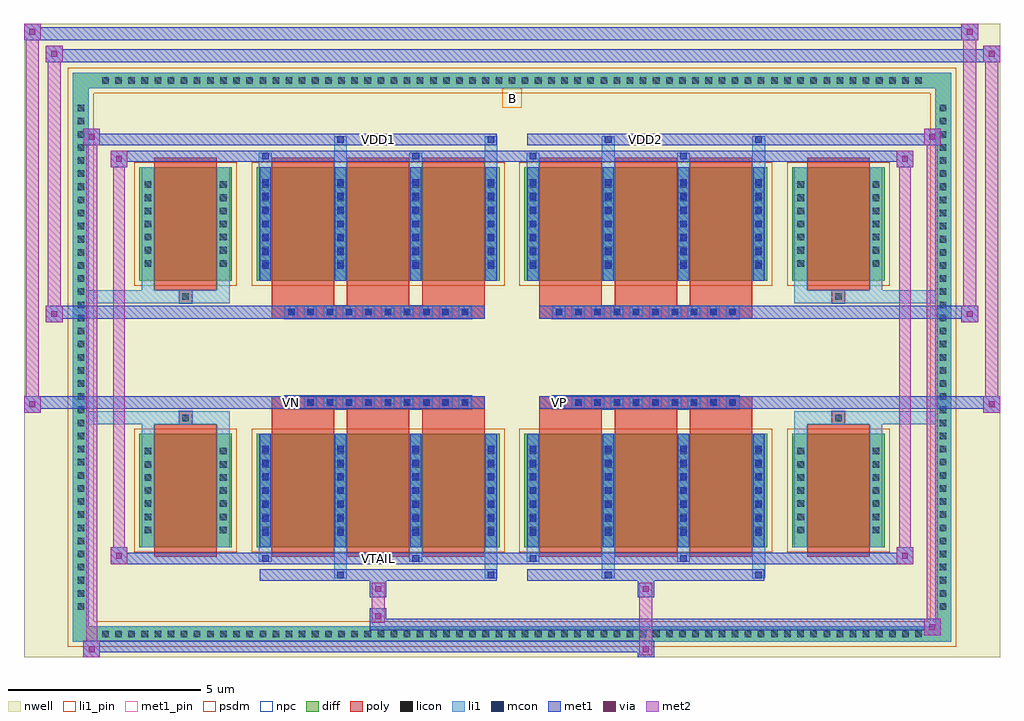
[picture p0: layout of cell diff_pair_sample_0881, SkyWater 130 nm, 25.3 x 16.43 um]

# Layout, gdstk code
import gdstk
lib = gdstk.Library(unit=1e-6, precision=5e-09)
def R(c, l, rs):  # rectangles x0, y0, x1, y1
    for r in rs: c.add(gdstk.rectangle(r[:2], r[2:], *l))
def A(c, l, x, y, w, h, nx, ny, dx, dy):  # array of equal rectangles
    R(c, l, [(x+i*dx, y+j*dy, x+i*dx+w, y+j*dy+h) for i in range(nx) for j in range(ny)])
def P(c, l, *ps):  # polygons
    for p in ps: c.add(gdstk.Polygon(p, *l))
nwell = (64, 20)
diff = (65, 20)
poly = (66, 20)
licon = (66, 44)
li1_pin = (67, 16)
li1 = (67, 20)
mcon = (67, 44)
met1_pin = (68, 16)
met1 = (68, 20)
via = (68, 44)
met2 = (69, 20)
psdm = (94, 20)
npc = (95, 20)

diff_pair_sample_0881 = lib.new_cell('diff_pair_sample_0881')
R(diff_pair_sample_0881, nwell, [(-12.65,-7.78,12.65,8.65), (-9.97,-5.97,-0.01,-0.805), (0.01,-5.97,9.97,-0.805), (-9.97,0.805,-0.01,5.97), (0.01,0.805,9.97,5.97)])
A(diff_pair_sample_0881, diff, -10.745, -7.38, 0.41, 0.41, 63, 2, 0.34, 14.35)
A(diff_pair_sample_0881, diff, -11.38, -6.665, 0.41, 0.41, 1, 39, 0, 0.34)
A(diff_pair_sample_0881, diff, 10.97, -6.665, 0.41, 0.41, 1, 39, 0, 0.34)
R(diff_pair_sample_0881, diff, [(-10.745,-7.38,10.745,-6.97), (-11.38,-6.665,-10.97,6.665), (10.97,-6.665,11.38,6.665), (-9.66,-4.925,-7.26,-1.985), (-6.62,-4.925,-0.32,-1.985), (0.32,-4.925,6.62,-1.985), (7.26,-4.925,9.66,-1.985), (-9.66,1.985,-7.26,4.925), (-6.62,1.985,-0.32,4.925), (0.32,1.985,6.62,4.925), (7.26,1.985,9.66,4.925), (-10.745,6.97,10.745,7.38)])
P(diff_pair_sample_0881, diff, [(11.38,7.38),(-11.38,7.38),(-11.38,-6.97),(-10.97,-6.97),(-10.97,6.97),(10.97,6.97),(10.97,-6.97),(-10.97,-6.97),(-11.38,-6.97),(-11.38,-7.38),(11.38,-7.38)])
A(diff_pair_sample_0881, poly, -6.23, -5.175, 1.62, 3.44, 3, 2, 1.95, 6.91)
A(diff_pair_sample_0881, poly, 0.71, -5.175, 1.62, 3.44, 3, 2, 1.95, 6.91)
A(diff_pair_sample_0881, poly, -6.23, -1.735, 1.62, 0.4, 3, 2, 1.95, 3.07)
A(diff_pair_sample_0881, poly, 0.71, -1.735, 1.62, 0.4, 3, 2, 1.95, 3.07)
A(diff_pair_sample_0881, poly, -5.885, -1.335, 0.33, 0.33, 10, 2, 0.5, 2.34)
A(diff_pair_sample_0881, poly, 1.055, -1.335, 0.33, 0.33, 10, 2, 0.5, 2.34)
R(diff_pair_sample_0881, poly, [(-9.27,-5.175,-7.65,-1.735), (7.65,-5.175,9.27,-1.735), (-8.625,-1.735,-8.295,-1.405), (-8.625,-1.735,-8.295,-1.405), (8.295,-1.735,8.625,-1.405), (8.295,-1.735,8.625,-1.405), (-6.23,-1.335,-0.71,-1.005), (0.71,-1.335,6.23,-1.005), (-6.23,1.005,-0.71,1.335), (0.71,1.005,6.23,1.335), (-8.625,1.405,-8.295,1.735), (-8.625,1.405,-8.295,1.735), (8.295,1.405,8.625,1.735), (8.295,1.405,8.625,1.735), (-9.27,1.735,-7.65,5.175), (7.65,1.735,9.27,5.175)])
A(diff_pair_sample_0881, licon, -10.625, -7.26, 0.17, 0.17, 63, 2, 0.34, 14.35)
A(diff_pair_sample_0881, licon, -11.26, -6.545, 0.17, 0.17, 1, 39, 0, 0.34)
A(diff_pair_sample_0881, licon, 11.09, -6.545, 0.17, 0.17, 1, 39, 0, 0.34)
A(diff_pair_sample_0881, licon, -9.52, -4.56, 0.17, 0.17, 1, 7, 0, 0.34)
A(diff_pair_sample_0881, licon, -7.57, -4.56, 0.17, 0.17, 1, 7, 0, 0.34)
A(diff_pair_sample_0881, licon, -6.48, -4.56, 0.17, 0.17, 4, 7, 1.95, 0.34)
A(diff_pair_sample_0881, licon, 0.46, -4.56, 0.17, 0.17, 4, 7, 1.95, 0.34)
A(diff_pair_sample_0881, licon, 7.4, -4.56, 0.17, 0.17, 1, 7, 0, 0.34)
A(diff_pair_sample_0881, licon, 9.35, -4.56, 0.17, 0.17, 1, 7, 0, 0.34)
A(diff_pair_sample_0881, licon, -5.805, -1.255, 0.17, 0.17, 10, 2, 0.5, 2.34)
A(diff_pair_sample_0881, licon, 1.135, -1.255, 0.17, 0.17, 10, 2, 0.5, 2.34)
A(diff_pair_sample_0881, licon, -9.52, 2.35, 0.17, 0.17, 1, 7, 0, 0.34)
A(diff_pair_sample_0881, licon, -7.57, 2.35, 0.17, 0.17, 1, 7, 0, 0.34)
A(diff_pair_sample_0881, licon, -6.48, 2.35, 0.17, 0.17, 4, 7, 1.95, 0.34)
A(diff_pair_sample_0881, licon, 0.46, 2.35, 0.17, 0.17, 4, 7, 1.95, 0.34)
A(diff_pair_sample_0881, licon, 7.4, 2.35, 0.17, 0.17, 1, 7, 0, 0.34)
A(diff_pair_sample_0881, licon, 9.35, 2.35, 0.17, 0.17, 1, 7, 0, 0.34)
R(diff_pair_sample_0881, licon, [(-8.545,-1.655,-8.375,-1.485), (8.375,-1.655,8.545,-1.485), (-8.545,1.485,-8.375,1.655), (8.375,1.485,8.545,1.655)])
R(diff_pair_sample_0881, li1_pin, [(-0.25,6.47,0.25,6.97)])
A(diff_pair_sample_0881, li1, -10.705, -7.34, 0.33, 0.33, 63, 2, 0.34, 14.35)
A(diff_pair_sample_0881, li1, -11.34, -6.625, 0.33, 0.33, 1, 39, 0, 0.34)
A(diff_pair_sample_0881, li1, 11.01, -6.625, 0.33, 0.33, 1, 39, 0, 0.34)
A(diff_pair_sample_0881, li1, -6.56, -4.925, 0.33, 2.94, 4, 2, 1.95, 6.91)
A(diff_pair_sample_0881, li1, 0.38, -4.925, 0.33, 2.94, 4, 2, 1.95, 6.91)
A(diff_pair_sample_0881, li1, -9.6, -4.64, 0.33, 0.33, 1, 7, 0, 0.34)
A(diff_pair_sample_0881, li1, -7.65, -4.64, 0.33, 0.33, 1, 7, 0, 0.34)
A(diff_pair_sample_0881, li1, -6.56, -4.64, 0.33, 0.33, 4, 7, 1.95, 0.34)
A(diff_pair_sample_0881, li1, 0.38, -4.64, 0.33, 0.33, 4, 7, 1.95, 0.34)
A(diff_pair_sample_0881, li1, 7.32, -4.64, 0.33, 0.33, 1, 7, 0, 0.34)
A(diff_pair_sample_0881, li1, 9.27, -4.64, 0.33, 0.33, 1, 7, 0, 0.34)
A(diff_pair_sample_0881, li1, -6.48, -4.62, 0.17, 0.17, 4, 7, 1.95, 0.36)
A(diff_pair_sample_0881, li1, -6.48, -4.62, 0.17, 2.33, 4, 2, 1.95, 6.91)
A(diff_pair_sample_0881, li1, 0.46, -4.62, 0.17, 0.17, 4, 7, 1.95, 0.36)
A(diff_pair_sample_0881, li1, 0.46, -4.62, 0.17, 2.33, 4, 2, 1.95, 6.91)
A(diff_pair_sample_0881, li1, -5.885, -1.335, 0.33, 0.33, 10, 2, 0.5, 2.34)
A(diff_pair_sample_0881, li1, 1.055, -1.335, 0.33, 0.33, 10, 2, 0.5, 2.34)
A(diff_pair_sample_0881, li1, -9.6, 2.27, 0.33, 0.33, 1, 7, 0, 0.34)
A(diff_pair_sample_0881, li1, -7.65, 2.27, 0.33, 0.33, 1, 7, 0, 0.34)
A(diff_pair_sample_0881, li1, -6.56, 2.27, 0.33, 0.33, 4, 7, 1.95, 0.34)
A(diff_pair_sample_0881, li1, 0.38, 2.27, 0.33, 0.33, 4, 7, 1.95, 0.34)
A(diff_pair_sample_0881, li1, 7.32, 2.27, 0.33, 0.33, 1, 7, 0, 0.34)
A(diff_pair_sample_0881, li1, 9.27, 2.27, 0.33, 0.33, 1, 7, 0, 0.34)
A(diff_pair_sample_0881, li1, -6.48, 2.29, 0.17, 0.17, 4, 7, 1.95, 0.36)
A(diff_pair_sample_0881, li1, 0.46, 2.29, 0.17, 0.17, 4, 7, 1.95, 0.36)
R(diff_pair_sample_0881, li1, [(-11.38,-7.38,-10.97,-6.97), (-11.38,-7.38,-10.97,-6.97), (-10.97,-7.38,10.97,-6.97), (10.97,-7.38,11.38,-6.97), (10.97,-7.38,11.38,-6.97), (-11.38,-6.97,-10.97,6.97), (10.97,-6.97,11.38,6.97), (-4.61,-5.73,-4.28,-4.925), (-4.53,-5.73,-4.36,-5.56), (-0.71,-5.73,-0.38,-4.925), (-0.63,-5.73,-0.46,-5.56), (2.33,-5.73,2.66,-4.925), (2.41,-5.73,2.58,-5.56), (6.23,-5.73,6.56,-4.925), (6.31,-5.73,6.48,-5.56), (-6.56,-5.3,-6.23,-4.925), (-6.48,-5.3,-6.31,-5.13), (-2.66,-5.3,-2.33,-4.925), (-2.58,-5.3,-2.41,-5.13), (0.38,-5.3,0.71,-4.925), (0.46,-5.3,0.63,-5.13), (4.28,-5.3,4.61,-4.925), (4.36,-5.3,4.53,-5.13), (-9.6,-4.925,-9.27,-1.985), (-7.65,-4.925,-7.32,-1.985), (7.32,-4.925,7.65,-1.985), (9.27,-4.925,9.6,-1.985), (-9.6,-1.985,-9.27,-1.405), (-7.65,-1.985,-7.32,-1.405), (7.32,-1.985,7.65,-1.405), (9.27,-1.985,9.6,-1.405), (-11.38,-1.735,-8.625,-1.405), (-9.6,-1.735,-8.625,-1.405), (-8.625,-1.735,-8.295,-1.405), (-8.295,-1.735,-7.32,-1.405), (7.32,-1.735,8.295,-1.405), (8.295,-1.735,8.625,-1.405), (8.295,-1.735,11.38,-1.405), (8.625,-1.735,9.6,-1.405), (-11.38,1.405,-8.625,1.735), (-9.6,1.405,-8.625,1.735), (-9.6,1.405,-9.27,1.985), (-8.625,1.405,-8.295,1.735), (-8.295,1.405,-7.32,1.735), (-7.65,1.405,-7.32,1.985), (7.32,1.405,8.295,1.735), (7.32,1.405,7.65,1.985), (8.295,1.405,8.625,1.735), (8.295,1.405,11.38,1.735), (8.625,1.405,9.6,1.735), (9.27,1.405,9.6,1.985), (-9.6,1.985,-9.27,4.925), (-7.65,1.985,-7.32,4.925), (7.32,1.985,7.65,4.925), (9.27,1.985,9.6,4.925), (-6.56,4.925,-6.23,5.3), (-4.61,4.925,-4.28,5.73), (-2.66,4.925,-2.33,5.3), (-0.71,4.925,-0.38,5.73), (0.38,4.925,0.71,5.3), (2.33,4.925,2.66,5.73), (4.28,4.925,4.61,5.3), (6.23,4.925,6.56,5.73), (-6.48,5.13,-6.31,5.3), (-2.58,5.13,-2.41,5.3), (0.46,5.13,0.63,5.3), (4.36,5.13,4.53,5.3), (-4.53,5.56,-4.36,5.73), (-0.63,5.56,-0.46,5.73), (2.41,5.56,2.58,5.73), (6.31,5.56,6.48,5.73), (-11.38,6.97,-10.97,7.38), (-11.38,6.97,-10.97,7.38), (-10.97,6.97,10.97,7.38), (10.97,6.97,11.38,7.38), (10.97,6.97,11.38,7.38)])
A(diff_pair_sample_0881, mcon, -6.48, -4.62, 0.17, 0.17, 4, 7, 1.95, 0.36)
A(diff_pair_sample_0881, mcon, 0.46, -4.62, 0.17, 0.17, 4, 7, 1.95, 0.36)
A(diff_pair_sample_0881, mcon, -5.805, -1.255, 0.17, 0.17, 10, 2, 0.5, 2.34)
A(diff_pair_sample_0881, mcon, 1.135, -1.255, 0.17, 0.17, 10, 2, 0.5, 2.34)
A(diff_pair_sample_0881, mcon, -6.48, 2.29, 0.17, 0.17, 4, 7, 1.95, 0.36)
A(diff_pair_sample_0881, mcon, 0.46, 2.29, 0.17, 0.17, 4, 7, 1.95, 0.36)
R(diff_pair_sample_0881, mcon, [(-4.53,-5.73,-4.36,-5.56), (-0.63,-5.73,-0.46,-5.56), (2.41,-5.73,2.58,-5.56), (6.31,-5.73,6.48,-5.56), (-6.48,-5.3,-6.31,-5.13), (-2.58,-5.3,-2.41,-5.13), (0.46,-5.3,0.63,-5.13), (4.36,-5.3,4.53,-5.13), (-6.48,5.13,-6.31,5.3), (-2.58,5.13,-2.41,5.3), (0.46,5.13,0.63,5.3), (4.36,5.13,4.53,5.3), (-4.53,5.56,-4.36,5.73), (-0.63,5.56,-0.46,5.73), (2.41,5.56,2.58,5.73), (6.31,5.56,6.48,5.73)])
R(diff_pair_sample_0881, met1_pin, [(-3.605,-5.34,-3.335,-5.07), (-5.855,-1.295,-5.585,-1.025), (1.085,-1.295,1.355,-1.025), (-3.605,5.52,-3.335,5.79), (3.335,5.52,3.605,5.79)])
A(diff_pair_sample_0881, met1, -6.54, -4.925, 0.29, 2.94, 4, 2, 1.95, 6.91)
A(diff_pair_sample_0881, met1, 0.4, -4.925, 0.29, 2.94, 4, 2, 1.95, 6.91)
A(diff_pair_sample_0881, met1, -6.54, -4.68, 0.29, 0.29, 4, 7, 1.95, 0.36)
A(diff_pair_sample_0881, met1, 0.4, -4.68, 0.29, 0.29, 4, 7, 1.95, 0.36)
A(diff_pair_sample_0881, met1, -5.865, -1.315, 0.29, 0.29, 10, 2, 0.5, 2.34)
A(diff_pair_sample_0881, met1, 1.075, -1.315, 0.29, 0.29, 10, 2, 0.5, 2.34)
A(diff_pair_sample_0881, met1, -6.54, 2.23, 0.29, 0.29, 4, 7, 1.95, 0.36)
A(diff_pair_sample_0881, met1, 0.4, 2.23, 0.29, 0.29, 4, 7, 1.95, 0.36)
R(diff_pair_sample_0881, met1, [(-11.11,-7.78,-10.68,-7.35), (3.255,-7.78,3.685,-7.35), (-11.11,-7.64,3.685,-7.35), (10.68,-7.21,11.11,-6.78), (-3.685,-7.07,11.11,-6.78), (-3.685,-6.93,-3.255,-6.5), (-3.685,-6.22,-3.255,-5.79), (3.255,-6.22,3.685,-5.79), (-6.54,-5.79,-0.4,-5.5), (-4.59,-5.79,-4.3,-5.5), (-0.69,-5.79,-0.4,-5.5), (0.4,-5.79,6.54,-5.5), (2.35,-5.79,2.64,-5.5), (6.25,-5.79,6.54,-5.5), (-10.4,-5.36,-9.97,-4.93), (-10.4,-5.36,-6.54,-5.07), (-6.54,-5.36,-6.25,-5.07), (-6.54,-5.36,-0.4,-5.07), (-2.64,-5.36,-2.35,-5.07), (-0.4,-5.36,0.4,-5.07), (0.4,-5.36,0.69,-5.07), (0.4,-5.36,6.54,-5.07), (4.3,-5.36,4.59,-5.07), (6.54,-5.36,10.4,-5.07), (9.97,-5.36,10.4,-4.93), (-12.65,-1.435,-12.22,-1.005), (12.22,-1.435,12.65,-1.005), (-12.65,-1.335,-0.71,-1.005), (-6.23,-1.335,-0.71,-1.005), (0.71,-1.335,6.23,-1.005), (0.71,-1.335,12.65,-1.005), (-12.08,0.905,-11.65,1.335), (11.65,0.905,12.08,1.335), (-12.08,1.005,-6.23,1.335), (-6.23,1.005,-0.71,1.335), (0.71,1.005,6.23,1.335), (6.23,1.005,12.08,1.335), (-10.4,4.93,-9.97,5.36), (9.97,4.93,10.4,5.36), (-10.4,5.07,-6.54,5.36), (-6.54,5.07,-6.25,5.36), (-6.54,5.07,-0.4,5.36), (-2.64,5.07,-2.35,5.36), (-0.4,5.07,0.4,5.36), (0.4,5.07,0.69,5.36), (0.4,5.07,6.54,5.36), (4.3,5.07,4.59,5.36), (6.54,5.07,10.4,5.36), (-11.11,5.5,-10.68,5.93), (-11.11,5.5,-6.54,5.79), (-6.54,5.5,-0.4,5.79), (-4.59,5.5,-4.3,5.79), (-0.69,5.5,-0.4,5.79), (0.4,5.5,6.54,5.79), (2.35,5.5,2.64,5.79), (6.25,5.5,6.54,5.79), (6.54,5.5,11.11,5.79), (10.68,5.5,11.11,5.93), (-12.08,7.65,-11.65,8.08), (-12.08,7.65,-9.97,7.98), (-9.97,7.65,9.97,7.98), (9.97,7.65,12.65,7.98), (12.22,7.65,12.65,8.08), (-12.65,8.22,-12.22,8.65), (-12.65,8.22,-9.97,8.55), (-9.97,8.22,9.97,8.55), (9.97,8.22,12.08,8.55), (11.65,8.22,12.08,8.65)])
R(diff_pair_sample_0881, via, [(-10.97,-7.64,-10.82,-7.49), (3.395,-7.64,3.545,-7.49), (10.82,-7.07,10.97,-6.92), (-3.545,-6.79,-3.395,-6.64), (-3.545,-6.08,-3.395,-5.93), (3.395,-6.08,3.545,-5.93), (-10.26,-5.22,-10.11,-5.07), (10.11,-5.22,10.26,-5.07), (-12.51,-1.295,-12.36,-1.145), (12.36,-1.295,12.51,-1.145), (-11.94,1.045,-11.79,1.195), (11.79,1.045,11.94,1.195), (-10.26,5.07,-10.11,5.22), (10.11,5.07,10.26,5.22), (-10.97,5.64,-10.82,5.79), (10.82,5.64,10.97,5.79), (-11.94,7.79,-11.79,7.94), (12.36,7.79,12.51,7.94), (-12.51,8.36,-12.36,8.51), (11.79,8.36,11.94,8.51)])
R(diff_pair_sample_0881, met2, [(-11.11,-7.78,-10.68,-7.35), (-11.04,-7.78,-10.75,5.93), (-10.75,-7.78,-10.68,-7.35), (-11.06,-7.73,-10.73,-7.4), (3.305,-7.73,3.635,-7.4), (3.305,-7.4,3.635,-6.17), (10.68,-7.21,11.11,-6.78), (10.75,-7.21,11.04,5.93), (11.04,-7.21,11.11,-6.78), (10.73,-7.16,11.06,-6.83), (-3.635,-6.88,-3.305,-6.55), (-3.635,-6.55,-3.305,-6.17), (-3.635,-6.17,-3.305,-5.84), (3.305,-6.17,3.635,-5.84), (-10.4,-5.36,-9.97,-4.93), (-10.33,-5.36,-10.04,5.36), (-10.04,-5.36,-9.97,-4.93), (9.97,-5.36,10.4,-4.93), (10.04,-5.36,10.33,5.36), (10.33,-5.36,10.4,-4.93), (-10.35,-5.31,-10.02,-4.98), (10.02,-5.31,10.35,-4.98), (-12.65,-1.435,-12.22,-1.005), (-12.6,-1.435,-12.27,8.65), (-12.27,-1.435,-12.22,-1.005), (12.22,-1.435,12.65,-1.005), (12.27,-1.435,12.6,8.08), (12.6,-1.435,12.65,-1.005), (-12.6,-1.385,-12.27,-1.055), (12.27,-1.385,12.6,-1.055), (-12.08,0.905,-11.65,1.335), (-12.03,0.905,-11.7,8.08), (-11.7,0.905,-11.65,1.335), (11.65,0.905,12.08,1.335), (11.7,0.905,12.03,8.65), (12.03,0.905,12.08,1.335), (-12.03,0.955,-11.7,1.285), (11.7,0.955,12.03,1.285), (-10.4,4.93,-9.97,5.36), (-10.04,4.93,-9.97,5.36), (9.97,4.93,10.4,5.36), (10.33,4.93,10.4,5.36), (-10.35,4.98,-10.02,5.31), (10.02,4.98,10.35,5.31), (-11.11,5.5,-10.68,5.93), (-10.75,5.5,-10.68,5.93), (10.68,5.5,11.11,5.93), (11.04,5.5,11.11,5.93), (-11.06,5.55,-10.73,5.88), (10.73,5.55,11.06,5.88), (-12.08,7.65,-11.65,8.08), (-11.7,7.65,-11.65,8.08), (12.22,7.65,12.65,8.08), (12.6,7.65,12.65,8.08), (-12.03,7.7,-11.7,8.03), (12.27,7.7,12.6,8.03), (-12.65,8.22,-12.22,8.65), (-12.27,8.22,-12.22,8.65), (11.65,8.22,12.08,8.65), (12.03,8.22,12.08,8.65), (-12.6,8.27,-12.27,8.6), (11.7,8.27,12.03,8.6)])
R(diff_pair_sample_0881, psdm, [(-9.79,-5.055,-7.13,-1.855), (-6.75,-5.055,-0.19,-1.855), (0.19,-5.055,6.75,-1.855), (7.13,-5.055,9.79,-1.855), (-9.79,1.855,-7.13,5.055), (-6.75,1.855,-0.19,5.055), (0.19,1.855,6.75,5.055), (7.13,1.855,9.79,5.055)])
P(diff_pair_sample_0881, psdm, [(11.51,7.51),(-11.51,7.51),(-11.51,-6.84),(-10.84,-6.84),(-10.84,6.84),(10.84,6.84),(10.84,-6.84),(-10.84,-6.84),(-11.51,-6.84),(-11.51,-7.51),(11.51,-7.51)])
A(diff_pair_sample_0881, npc, -5.905, -1.355, 0.37, 0.37, 10, 2, 0.5, 2.34)
A(diff_pair_sample_0881, npc, 1.035, -1.355, 0.37, 0.37, 10, 2, 0.5, 2.34)
R(diff_pair_sample_0881, npc, [(-8.645,-1.755,-8.275,-1.385), (8.275,-1.755,8.645,-1.385), (-5.905,-1.355,-5.035,-0.985), (-5.905,-1.355,-5.035,-0.985), (-5.405,-1.355,-4.535,-0.985), (-5.405,-1.355,-4.535,-0.985), (-4.905,-1.355,-4.035,-0.985), (-4.905,-1.355,-4.035,-0.985), (-4.405,-1.355,-3.535,-0.985), (-4.405,-1.355,-3.535,-0.985), (-3.905,-1.355,-3.035,-0.985), (-3.905,-1.355,-3.035,-0.985), (-3.405,-1.355,-2.535,-0.985), (-3.405,-1.355,-2.535,-0.985), (-2.905,-1.355,-2.035,-0.985), (-2.905,-1.355,-2.035,-0.985), (-2.405,-1.355,-1.535,-0.985), (-2.405,-1.355,-1.535,-0.985), (-1.905,-1.355,-1.035,-0.985), (-1.905,-1.355,-1.035,-0.985), (1.035,-1.355,1.905,-0.985), (1.035,-1.355,1.905,-0.985), (1.535,-1.355,2.405,-0.985), (1.535,-1.355,2.405,-0.985), (2.035,-1.355,2.905,-0.985), (2.035,-1.355,2.905,-0.985), (2.535,-1.355,3.405,-0.985), (2.535,-1.355,3.405,-0.985), (3.035,-1.355,3.905,-0.985), (3.035,-1.355,3.905,-0.985), (3.535,-1.355,4.405,-0.985), (3.535,-1.355,4.405,-0.985), (4.035,-1.355,4.905,-0.985), (4.035,-1.355,4.905,-0.985), (4.535,-1.355,5.405,-0.985), (4.535,-1.355,5.405,-0.985), (5.035,-1.355,5.905,-0.985), (5.035,-1.355,5.905,-0.985), (-5.905,0.985,-5.035,1.355), (-5.905,0.985,-5.035,1.355), (-5.405,0.985,-4.535,1.355), (-5.405,0.985,-4.535,1.355), (-4.905,0.985,-4.035,1.355), (-4.905,0.985,-4.035,1.355), (-4.405,0.985,-3.535,1.355), (-4.405,0.985,-3.535,1.355), (-3.905,0.985,-3.035,1.355), (-3.905,0.985,-3.035,1.355), (-3.405,0.985,-2.535,1.355), (-3.405,0.985,-2.535,1.355), (-2.905,0.985,-2.035,1.355), (-2.905,0.985,-2.035,1.355), (-2.405,0.985,-1.535,1.355), (-2.405,0.985,-1.535,1.355), (-1.905,0.985,-1.035,1.355), (-1.905,0.985,-1.035,1.355), (1.035,0.985,1.905,1.355), (1.035,0.985,1.905,1.355), (1.535,0.985,2.405,1.355), (1.535,0.985,2.405,1.355), (2.035,0.985,2.905,1.355), (2.035,0.985,2.905,1.355), (2.535,0.985,3.405,1.355), (2.535,0.985,3.405,1.355), (3.035,0.985,3.905,1.355), (3.035,0.985,3.905,1.355), (3.535,0.985,4.405,1.355), (3.535,0.985,4.405,1.355), (4.035,0.985,4.905,1.355), (4.035,0.985,4.905,1.355), (4.535,0.985,5.405,1.355), (4.535,0.985,5.405,1.355), (5.035,0.985,5.905,1.355), (5.035,0.985,5.905,1.355), (-8.645,1.385,-8.275,1.755), (8.275,1.385,8.645,1.755)])
diff_pair_sample_0881.add(gdstk.Label('VTAIL', (-3.47,-5.205), layer=68, texttype=5))
diff_pair_sample_0881.add(gdstk.Label('VN', (-5.72,-1.16), layer=68, texttype=5))
diff_pair_sample_0881.add(gdstk.Label('VP', (1.22,-1.16), layer=68, texttype=5))
diff_pair_sample_0881.add(gdstk.Label('B', (0,6.72), layer=67, texttype=5))
diff_pair_sample_0881.add(gdstk.Label('VDD2', (3.47,5.655), layer=68, texttype=5))
diff_pair_sample_0881.add(gdstk.Label('VDD1', (-3.47,5.655), layer=68, texttype=5))

lib.write_gds('diff_pair_sample_0881.gds')
